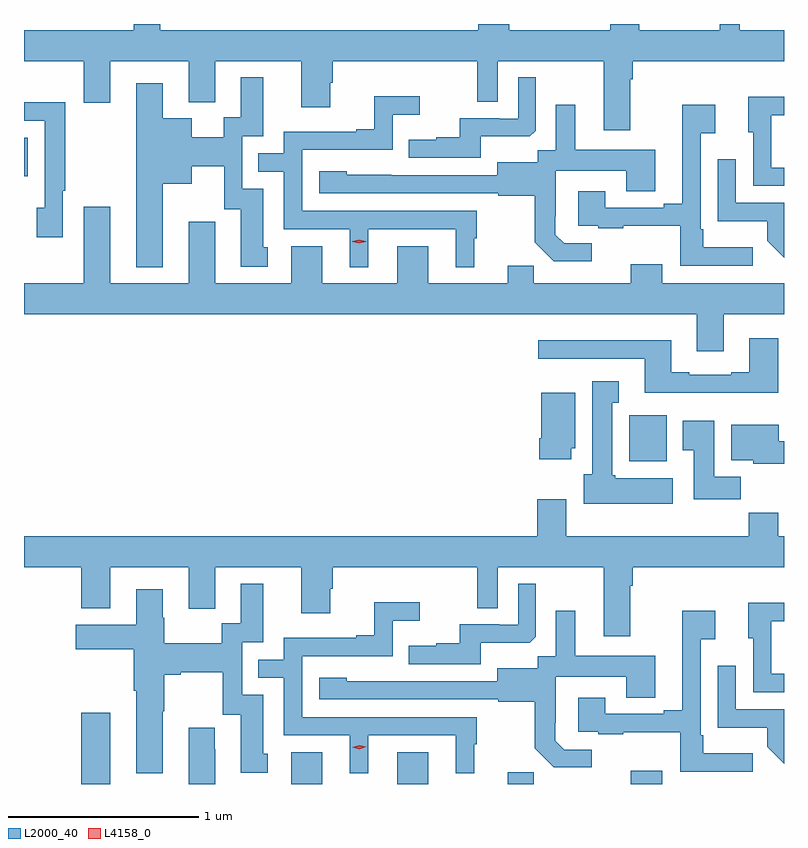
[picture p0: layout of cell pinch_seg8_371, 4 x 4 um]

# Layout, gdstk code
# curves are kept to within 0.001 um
import gdstk
lib = gdstk.Library(unit=1e-6, precision=1e-09)
def R(c, l, rs):  # rectangles x0, y0, x1, y1
    for r in rs: c.add(gdstk.rectangle(r[:2], r[2:], *l))
def P(c, l, *ps):  # polygons
    for p in ps: c.add(gdstk.Polygon(p, *l))
L2000_40 = (2000, 40)
L4158_0 = (4158, 0)

pinch_seg8_371 = lib.new_cell('pinch_seg8_371')
R(pinch_seg8_371, L2000_40, [(445.751,1111.364,445.903,1111.738), (446.855,1111.364,447.019,1111.531), (447.413,1111.364,447.577,1111.531), (447.995,1111.364,448.133,1111.427), (448.643,1111.364,448.807,1111.435), (448.634,1113.062,448.831,1113.304), (445.449,1114.562,445.468,1114.765)])
P(pinch_seg8_371, L2000_40, [(448.639,1115.072),(448.652,1115.072),(448.652,1115.168),(449.449,1115.168),(449.449,1115.332),(449.215,1115.332),(449.215,1115.364),(449.111,1115.364),(449.111,1115.332),(448.687,1115.332),(448.687,1115.364),(448.535,1115.364),(448.535,1115.332),(448.004,1115.332),(448.004,1115.364),(447.839,1115.364),(447.839,1115.332),(446.166,1115.332),(446.166,1115.364),(446.027,1115.364),(446.027,1115.332),(445.449,1115.332),(445.449,1115.168),(445.763,1115.168),(445.763,1114.95),(445.903,1114.95),(445.903,1115.168),(446.315,1115.168),(446.315,1114.952),(446.455,1114.952),(446.455,1115.168),(446.909,1115.168),(446.909,1114.926),(447.061,1114.926),(447.061,1115.055),(447.074,1115.055),(447.074,1115.168),(447.834,1115.168),(447.834,1114.954),(447.942,1114.954),(447.942,1115.168),(448.499,1115.168),(448.499,1114.806),(448.639,1114.806)],
  [(446.179,1114.523),(446.332,1114.523),(446.332,1114.616),(446.502,1114.616),(446.502,1114.389),(446.591,1114.389),(446.591,1114.086),(446.731,1114.086),(446.731,1114.188),(446.707,1114.188),(446.707,1114.497),(446.598,1114.497),(446.598,1114.773),(446.707,1114.773),(446.707,1115.083),(446.591,1115.083),(446.591,1114.874),(446.501,1114.874),(446.501,1114.768),(446.332,1114.768),(446.332,1114.867),(446.179,1114.867),(446.179,1115.053),(446.039,1115.053),(446.039,1114.085),(446.179,1114.085)],
  [(447.853,1114.772),(448.111,1114.772),(448.143,1114.803),(448.143,1115.083),(448.05,1115.083),(448.05,1114.866),(447.95,1114.866),(447.95,1114.869),(447.743,1114.869),(447.743,1114.768),(447.619,1114.768),(447.619,1114.756),(447.475,1114.756),(447.475,1114.659),(447.853,1114.659)],
  [(447.262,1114.284),(447.722,1114.284),(447.722,1114.085),(447.82,1114.085),(447.82,1114.236),(447.832,1114.236),(447.832,1114.38),(446.913,1114.38),(446.913,1114.701),(447.39,1114.701),(447.39,1114.886),(447.532,1114.886),(447.532,1114.985),(447.292,1114.985),(447.292,1114.81),(447.197,1114.81),(447.197,1114.797),(446.817,1114.797),(446.817,1114.683),(446.683,1114.683),(446.683,1114.587),(446.817,1114.587),(446.817,1114.284),(447.164,1114.284),(447.164,1114.085),(447.262,1114.085)],
  [(449.449,1114.608),(449.382,1114.608),(449.382,1114.884),(449.449,1114.884),(449.449,1114.982),(449.261,1114.982),(449.261,1114.794),(449.286,1114.794),(449.286,1114.512),(449.449,1114.512)],
  [(445.653,1114.486),(445.666,1114.486),(445.666,1114.952),(445.449,1114.952),(445.449,1114.854),(445.557,1114.854),(445.557,1114.398),(445.517,1114.398),(445.517,1114.242),(445.653,1114.242)],
  [(448.438,1114.209),(448.293,1114.209),(448.246,1114.256),(448.246,1114.351),(448.248,1114.351),(448.248,1114.592),(448.619,1114.592),(448.619,1114.483),(448.771,1114.483),(448.771,1114.702),(448.351,1114.702),(448.351,1114.939),(448.247,1114.939),(448.247,1114.7),(448.152,1114.7),(448.152,1114.636),(447.941,1114.636),(447.941,1114.569),(447.147,1114.57),(447.147,1114.588),(447.003,1114.588),(447.003,1114.473),(447.945,1114.473),(447.945,1114.461),(448.137,1114.461),(448.137,1114.215),(448.237,1114.115),(448.438,1114.115)],
  [(449.284,1114.189),(449.023,1114.189),(449.023,1114.285),(449.01,1114.285),(449.01,1114.79),(449.086,1114.79),(449.086,1114.939),(448.913,1114.939),(448.913,1114.417),(448.817,1114.417),(448.817,1114.398),(448.507,1114.398),(448.507,1114.483),(448.367,1114.483),(448.367,1114.302),(448.471,1114.302),(448.471,1114.29),(448.603,1114.29),(448.603,1114.301),(448.902,1114.301),(448.902,1114.092),(449.284,1114.092)],
  [(449.449,1114.422),(449.196,1114.422),(449.196,1114.651),(449.1,1114.651),(449.1,1114.325),(449.362,1114.325),(449.362,1114.223),(449.449,1114.135)],
  [(448.643,1114.099),(448.643,1114),(448.133,1114),(448.133,1114.091),(447.995,1114.091),(447.995,1114),(447.577,1114),(447.577,1114.195),(447.413,1114.195),(447.413,1114),(447.019,1114),(447.019,1114.195),(446.855,1114.195),(446.855,1114),(446.455,1114),(446.455,1114.324),(446.315,1114.324),(446.315,1114),(445.903,1114),(445.903,1114.402),(445.763,1114.402),(445.763,1114),(445.449,1114),(445.449,1113.836),(448.991,1113.836),(448.991,1113.642),(449.131,1113.642),(449.131,1113.836),(449.449,1113.836),(449.449,1114),(448.807,1114),(448.807,1114.099)],
  [(449.42,1113.709),(449.267,1113.709),(449.267,1113.532),(449.171,1113.532),(449.171,1113.519),(448.951,1113.519),(448.951,1113.532),(448.855,1113.532),(448.855,1113.7),(448.155,1113.7),(448.155,1113.603),(448.715,1113.603),(448.715,1113.422),(449.42,1113.422)],
  [(448.864,1112.974),(448.56,1112.974),(448.56,1112.988),(448.546,1112.988),(448.546,1113.371),(448.579,1113.371),(448.579,1113.484),(448.439,1113.484),(448.439,1112.994),(448.394,1112.994),(448.394,1112.84),(448.864,1112.84)],
  [(448.33,1113.132),(448.351,1113.132),(448.351,1113.424),(448.172,1113.424),(448.172,1113.184),(448.16,1113.184),(448.16,1113.072),(448.33,1113.072)],
  [(449.222,1112.98),(449.083,1112.98),(449.083,1113.277),(448.916,1113.277),(448.916,1113.121),(448.973,1113.121),(448.973,1112.862),(449.222,1112.862)],
  [(449.449,1113.168),(449.422,1113.168),(449.422,1113.256),(449.171,1113.256),(449.171,1113.068),(449.286,1113.068),(449.286,1113.05),(449.449,1113.05)],
  [(448.639,1112.408),(448.652,1112.408),(448.652,1112.504),(449.449,1112.504),(449.449,1112.668),(449.42,1112.668),(449.42,1112.792),(449.263,1112.792),(449.263,1112.668),(448.303,1112.668),(448.303,1112.863),(448.151,1112.863),(448.151,1112.668),(445.449,1112.668),(445.449,1112.504),(445.751,1112.504),(445.751,1112.288),(445.903,1112.288),(445.903,1112.504),(446.315,1112.504),(446.315,1112.286),(446.455,1112.286),(446.455,1112.504),(446.909,1112.504),(446.909,1112.262),(447.061,1112.262),(447.061,1112.391),(447.074,1112.391),(447.074,1112.504),(447.834,1112.504),(447.834,1112.29),(447.942,1112.29),(447.942,1112.504),(448.499,1112.504),(448.499,1112.142),(448.639,1112.142)],
  [(446.179,1111.747),(446.187,1111.747),(446.187,1111.94),(446.275,1111.94),(446.275,1111.952),(446.495,1111.952),(446.495,1111.728),(446.591,1111.728),(446.591,1111.422),(446.731,1111.422),(446.731,1111.524),(446.707,1111.524),(446.707,1111.833),(446.598,1111.833),(446.598,1112.109),(446.707,1112.109),(446.707,1112.419),(446.591,1112.419),(446.591,1112.21),(446.49,1112.21),(446.49,1112.104),(446.187,1112.104),(446.187,1112.238),(446.179,1112.238),(446.179,1112.389),(446.039,1112.389),(446.039,1112.203),(445.722,1112.203),(445.722,1112.074),(446.027,1112.074),(446.027,1111.856),(446.039,1111.856),(446.039,1111.421),(446.179,1111.421)],
  [(447.853,1112.108),(448.111,1112.108),(448.143,1112.139),(448.143,1112.419),(448.05,1112.419),(448.05,1112.202),(447.95,1112.202),(447.95,1112.205),(447.743,1112.205),(447.743,1112.104),(447.619,1112.104),(447.619,1112.092),(447.475,1112.092),(447.475,1111.995),(447.853,1111.995)],
  [(447.262,1111.62),(447.722,1111.62),(447.722,1111.421),(447.82,1111.421),(447.82,1111.572),(447.832,1111.572),(447.832,1111.716),(446.913,1111.716),(446.913,1112.037),(447.39,1112.037),(447.39,1112.222),(447.532,1112.222),(447.532,1112.321),(447.292,1112.321),(447.292,1112.146),(447.197,1112.146),(447.197,1112.133),(446.817,1112.133),(446.817,1112.019),(446.683,1112.019),(446.683,1111.923),(446.817,1111.923),(446.817,1111.62),(447.164,1111.62),(447.164,1111.421),(447.262,1111.421)],
  [(449.449,1111.944),(449.382,1111.944),(449.382,1112.22),(449.449,1112.22),(449.449,1112.318),(449.261,1112.318),(449.261,1112.13),(449.286,1112.13),(449.286,1111.848),(449.449,1111.848)],
  [(448.438,1111.545),(448.293,1111.545),(448.246,1111.592),(448.246,1111.687),(448.248,1111.687),(448.248,1111.928),(448.619,1111.928),(448.619,1111.819),(448.771,1111.819),(448.771,1112.038),(448.351,1112.038),(448.351,1112.275),(448.247,1112.275),(448.247,1112.036),(448.152,1112.036),(448.152,1111.972),(447.941,1111.972),(447.941,1111.905),(447.147,1111.906),(447.147,1111.924),(447.003,1111.924),(447.003,1111.809),(447.945,1111.809),(447.945,1111.797),(448.137,1111.797),(448.137,1111.551),(448.237,1111.451),(448.438,1111.451)],
  [(449.284,1111.525),(449.023,1111.525),(449.023,1111.621),(449.01,1111.621),(449.01,1112.126),(449.086,1112.126),(449.086,1112.275),(448.913,1112.275),(448.913,1111.753),(448.817,1111.753),(448.817,1111.734),(448.507,1111.734),(448.507,1111.819),(448.367,1111.819),(448.367,1111.638),(448.471,1111.638),(448.471,1111.626),(448.603,1111.626),(448.603,1111.637),(448.902,1111.637),(448.902,1111.428),(449.284,1111.428)],
  [(449.449,1111.758),(449.196,1111.758),(449.196,1111.987),(449.1,1111.987),(449.1,1111.661),(449.362,1111.661),(449.362,1111.559),(449.449,1111.471)],
  [(446.455,1111.547),(446.452,1111.547),(446.452,1111.66),(446.315,1111.66),(446.315,1111.364),(446.455,1111.364)])
P(pinch_seg8_371, L4158_0, [(447.213,1111.548),(447.177,1111.557),(447.177,1111.557),(447.177,1111.558),(447.213,1111.568),(447.249,1111.559),(447.249,1111.559),(447.249,1111.559)],
  [(447.213,1114.209),(447.177,1114.219),(447.177,1114.219),(447.177,1114.22),(447.213,1114.229),(447.248,1114.22),(447.249,1114.219),(447.248,1114.219)])

lib.write_gds('pinch_seg8_371.gds')
